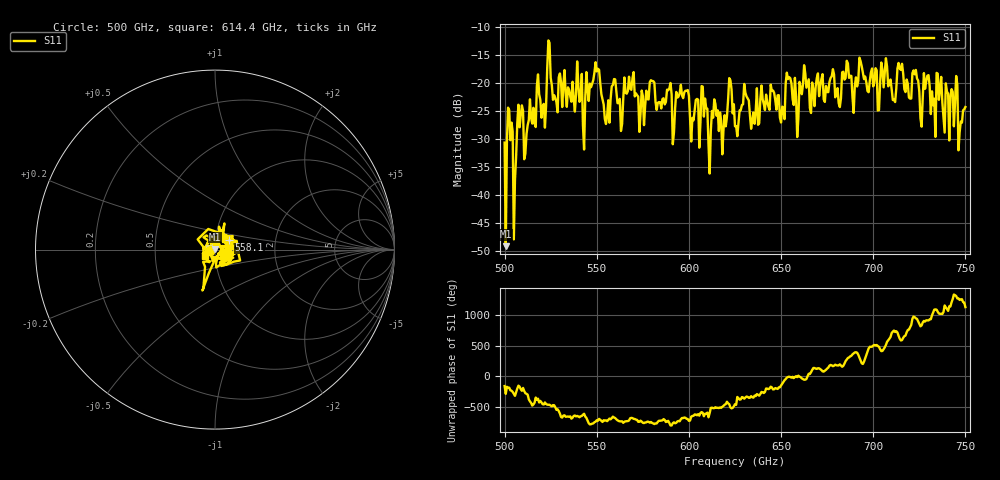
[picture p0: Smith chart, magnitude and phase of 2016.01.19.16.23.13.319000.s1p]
!Created with skrf (http://scikit-rf.org).
# GHz S RI R 50.0
!freq ReS11 ImS11
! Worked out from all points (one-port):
!   401 points, 500 GHz to 750 GHz, reference 50 ohm
!   lowest |S11| = -49.2 dB at 500.6 GHz (marker M1), VSWR 1.01, Z = 50.1 + j0.331 ohm
!   |S11| at or under -10 dB: start of sweep to end of sweep
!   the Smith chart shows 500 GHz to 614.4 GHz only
!   S11 on the Smith chart (normalised r, x): 500 GHz: 0.95, -0.02; 558.1 GHz: 1.16, +0.12; 614.4 GHz: 0.89, -0.06
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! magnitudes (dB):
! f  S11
! 500 GHz  -30.7
! 500.6 GHz  -49.2
! 503.1 GHz  -30.2
! 505.6 GHz  -37.3
! 508.8 GHz  -25.9
! 511.9 GHz  -29.2
! 518.8 GHz  -22.1
! 521.2 GHz  -23.8
! 524.4 GHz  -12.9
! 527.5 GHz  -22.7
! 531.2 GHz  -24.3
! 558.1 GHz  -20.6
! 562.5 GHz  -22.9
! 568.8 GHz  -21.3
! 574.4 GHz  -21.4
! 580 GHz  -19.7
! 593.8 GHz  -22.7
! 601.9 GHz  -26.3
! 608.1 GHz  -26.0
! 611.9 GHz  -28.6
! 614.4 GHz  -23.8
! 619.4 GHz  -25.8
! 622.5 GHz  -19.5
! 625 GHz  -27.8
! 656.2 GHz  -22.9
! 687.5 GHz  -18.8
! 718.8 GHz  -20.2
! 750 GHz  -24.3
